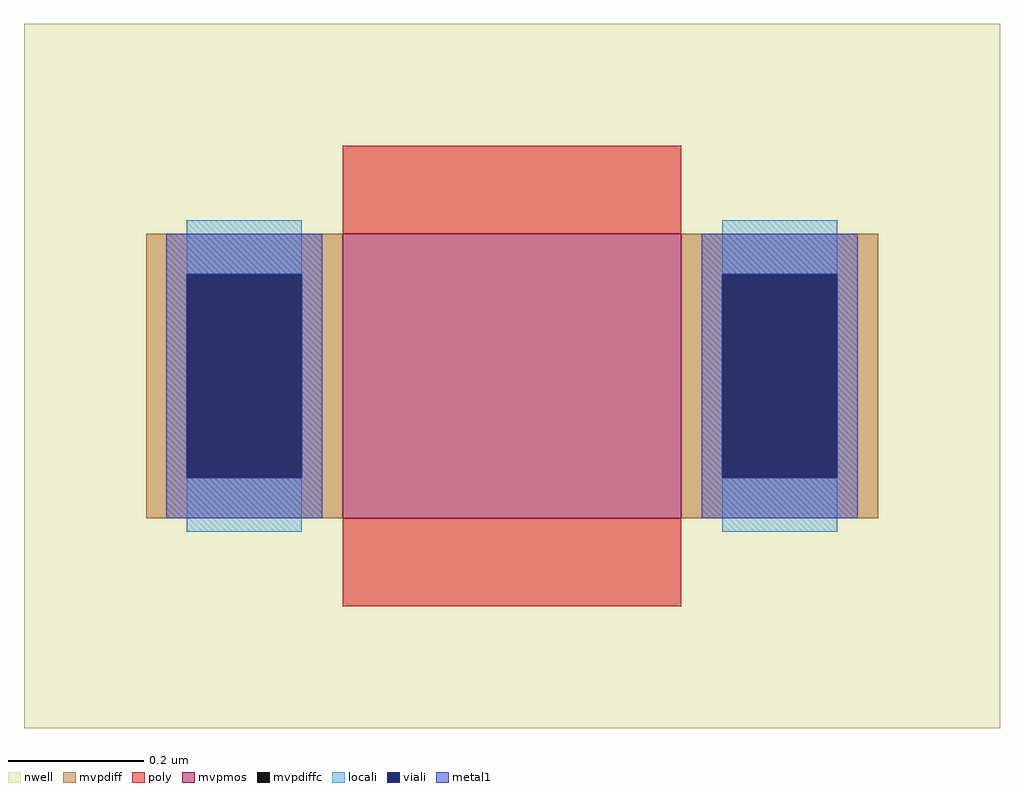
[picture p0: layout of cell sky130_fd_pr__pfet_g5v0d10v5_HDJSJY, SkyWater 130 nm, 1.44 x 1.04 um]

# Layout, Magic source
magic
tech sky130A
<< nwell >>
rect -72 -52 72 52
<< mvpmos >>
rect -25 -21 25 21
<< mvpdiff >>
rect -54 15 -25 21
rect -54 -15 -48 15
rect -31 -15 -25 15
rect -54 -21 -25 -15
rect 25 15 54 21
rect 25 -15 31 15
rect 48 -15 54 15
rect 25 -21 54 -15
<< mvpdiffc >>
rect -48 -15 -31 15
rect 31 -15 48 15
<< poly >>
rect -25 21 25 34
rect -25 -34 25 -21
<< locali >>
rect -48 15 -31 23
rect -48 -23 -31 -15
rect 31 15 48 23
rect 31 -23 48 -15
<< viali >>
rect -48 -15 -31 15
rect 31 -15 48 15
<< metal1 >>
rect -51 15 -28 21
rect -51 -15 -48 15
rect -31 -15 -28 15
rect -51 -21 -28 -15
rect 28 15 51 21
rect 28 -15 31 15
rect 48 -15 51 15
rect 28 -21 51 -15
<< properties >>
string gencell sky130_fd_pr__pfet_g5v0d10v5
string library sky130
string parameters w 0.42 l 0.50 m 1 nf 1 diffcov 100 polycov 100 guard 0 glc 1 grc 1 gtc 1 gbc 1 tbcov 100 rlcov 100 topc 0 botc 0 poverlap 0 doverlap 1 lmin 0.50 wmin 0.42 compatible {sky130_fd_pr__pfet_01v8  sky130_fd_pr__pfet_01v8_lvt sky130_fd_pr__pfet_01v8_hvt  sky130_fd_pr__pfet_g5v0d10v5} full_metal 1 viasrc 100 viadrn 100 viagate 100 viagb 0 viagr 0 viagl 0 viagt 0
<< end >>
